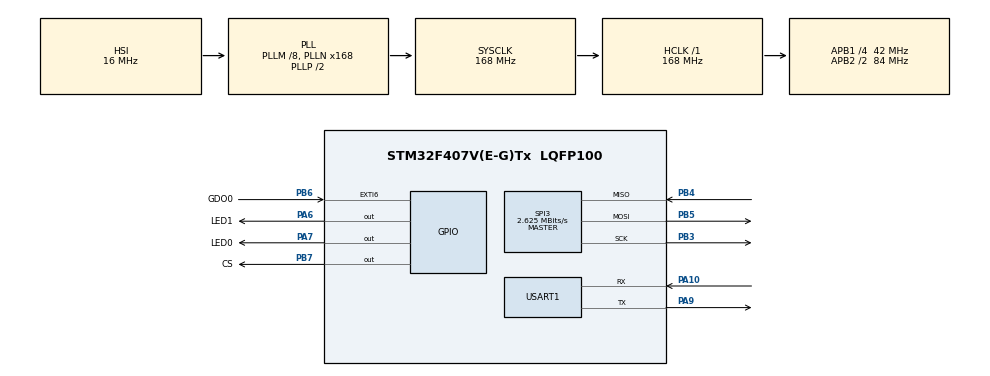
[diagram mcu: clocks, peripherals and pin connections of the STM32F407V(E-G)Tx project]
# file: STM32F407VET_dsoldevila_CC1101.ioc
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Mcu.Family=STM32F4
Mcu.Name=STM32F407V(E-G)Tx
Mcu.Package=LQFP100
NVIC.EXTI9_5_IRQn=true\:0\:0\:false\:false\:true\:true\:true\:true
NVIC.PriorityGroup=NVIC_PRIORITYGROUP_4
PA10.Mode=Asynchronous
PA10.Signal=USART1_RX
PA6.GPIO_Label=LED1
PA6.Signal=GPIO_Output
PA7.GPIO_Label=LED0
PA7.Signal=GPIO_Output
PA9.Mode=Asynchronous
PA9.Signal=USART1_TX
PB3.Mode=Full_Duplex_Master
PB3.Signal=SPI3_SCK
PB4.Mode=Full_Duplex_Master
PB4.Signal=SPI3_MISO
PB5.Mode=Full_Duplex_Master
PB5.Signal=SPI3_MOSI
PB6.GPIO_Label=GDO0
PB6.GPIO_ModeDefaultEXTI=GPIO_MODE_IT_FALLING
PB6.Signal=GPXTI6
PB7.GPIO_Label=CS
PB7.Signal=GPIO_Output
PC14-OSC32_IN.Mode=LSE-External-Oscillator
PC14-OSC32_IN.Signal=RCC_OSC32_IN
PC15-OSC32_OUT.Mode=LSE-External-Oscillator
PC15-OSC32_OUT.Signal=RCC_OSC32_OUT
PH0-OSC_IN.Mode=HSE-External-Oscillator
PH0-OSC_IN.Signal=RCC_OSC_IN
PH1-OSC_OUT.Mode=HSE-External-Oscillator
PH1-OSC_OUT.Signal=RCC_OSC_OUT
ProjectManager.HeapSize=0x200
ProjectManager.StackSize=0x400
ProjectManager.TargetToolchain=STM32CubeIDE
RCC.48MHZClocksFreq_Value=84000000
RCC.AHBFreq_Value=168000000
RCC.APB1CLKDivider=RCC_HCLK_DIV4
RCC.APB1Freq_Value=42000000
RCC.APB1TimFreq_Value=84000000
RCC.APB2CLKDivider=RCC_HCLK_DIV2
RCC.APB2Freq_Value=84000000
RCC.APB2TimFreq_Value=168000000
RCC.CortexFreq_Value=168000000
RCC.HCLKFreq_Value=168000000
RCC.HSE_VALUE=25000000
RCC.HSI_VALUE=16000000
RCC.PLLM=8
RCC.PLLN=168
RCC.SYSCLKFreq_VALUE=168000000
RCC.SYSCLKSource=RCC_SYSCLKSOURCE_PLLCLK
RCC.VCOOutputFreq_Value=336000000
SPI3.BaudRatePrescaler=SPI_BAUDRATEPRESCALER_16
SPI3.CalculateBaudRate=2.625 MBits/s
SPI3.Direction=SPI_DIRECTION_2LINES
SPI3.Mode=SPI_MODE_MASTER
SPI3.VirtualType=VM_MASTER
USART1.VirtualMode=VM_ASYNC
board=custom

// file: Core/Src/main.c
/* USER CODE BEGIN Header */
/**
 ******************************************************************************
 * @file           : main.c
 * @brief          : Main program body
 ******************************************************************************
 * @attention
 *
 * Copyright (c) 2025 STMicroelectronics.
 * All rights reserved.
 *
 * This software is licensed under terms that can be found in the LICENSE file
 * in the root directory of this software component.
 * If no LICENSE file comes with this software, it is provided AS-IS.
 *
 ******************************************************************************
 */
/* USER CODE END Header */
#include "main.h"

/* USER CODE BEGIN Includes */
#include <stdio.h>
#include "rf_driver.h"
/* USER CODE END Includes */

SPI_HandleTypeDef hspi3;

UART_HandleTypeDef huart1;

void SystemClock_Config(void);
static void MX_GPIO_Init(void);
static void MX_SPI3_Init(void);
static void MX_USART1_UART_Init(void);

/* USER CODE BEGIN 0 */
void CC1101_DumpRegisters(char *buf, size_t bufsize) {
	uint8_t regVal;
	size_t idx = 0;

	for (uint8_t addr = 0x00; addr <= 0x2F; addr++) {
		regVal = rf_read_register(addr);
		idx += snprintf(buf + idx, bufsize - idx, "[0x%02X]=0x%02X,", addr,
				regVal);
		if (idx >= bufsize - 1)
			break; // Prevent buffer overflow
	}
	// volatile uint8_t raw_state = rf_read_register(MARCSTATE);
	// Append PARTNUM and VERSION explicitly
	regVal = rf_read_register(PARTNUM); // PARTNUM
	idx += snprintf(buf + idx, bufsize - idx, "PARTNUM = 0x%02X\r\n", regVal);

	regVal = rf_read_register(VERSION); // VERSION
	idx += snprintf(buf + idx, bufsize - idx, "VERSION = 0x%02X\r\n", regVal);
}

void transmit_demo(uint32_t i) {
	uint16_t size = 20;
	uint8_t data[size];
	const char *str = "{x=10;y=20}";
	//uint16_t len = strlen(str);  // len = 13
	//memcpy(data, str, len);  // Copy without null terminator
	sprintf(data,"--%s%ld\n",str,i);

	static int counter = 0;
	data[0] = size & 0xFF;
	data[1] = (size >> 8) & 0xFF;

//	size = strlen(data);
//	for (i = 2; i < size; i++) {
//		data[i] = (i) % 256;
//	}

	if (send_frame(data, size) != FRAME_OK)
		printf("ERROR\n\r");
	data[size - 1] = counter++;

}
/* USER CODE END 0 */

int main(void) {

	/* MCU Configuration--------------------------------------------------------*/

	/* Reset of all peripherals, Initializes the Flash interface and the Systick. */

	HAL_Init();

	/* Configure the system clock */
	SystemClock_Config();

	/* Initialize all configured peripherals */
	MX_GPIO_Init();
	MX_SPI3_Init();
	MX_USART1_UART_Init();
	/* USER CODE BEGIN 2 */
	  init_serial(&huart1);
	/* USER CODE END 2 */

	/* Infinite loop */
	/* USER CODE BEGIN WHILE */

	//Init rf driver
	rf_begin(&hspi3, GFSK_1_2_kb, MHz434, CS_GPIO_Port, CS_Pin, GDO0_Pin);

	//check if idle
	rf_sidle();
	uint8_t result = rf_read_register(MARCSTATE);
	printf("result %#02x (Should be 0x01)\n\r", result);

	rf_set_carrier_frequency(433.98);
	rf_set_carrier_offset(50);

//	uint8_t crc;
//	uint16_t len = (1 << 16) - 1;
//	uint8_t buffer[len];
//	uint8_t lqi;
//	uint8_t rssi;

	rf_receive();

	char buff[650] = { };
	//TI_FixCriticalRegisters();
	//CC1101_Init4FSK();
	CC1101_DumpRegisters(buff, 650);
	printf(buff);
	uint32_t i = 0;

	while (1) {
//		if (rf_incoming_packet()) {
		HAL_GPIO_TogglePin(LED0_GPIO_Port, LED0_Pin);
//			printf("PACKET FOUND\n\r");
//			len = (1 << 16) - 1;
//			crc = receive_frame(buffer, &len, 0, 16, &lqi, &rssi);
//			if (crc) {
//				printf("%d CRC OK\n\r", len);
//			} else {
//				printf("%d BAD CRC OK\n\r", len);
//			}
//			rf_write_strobe(SFRX);
//			//printf("CRC: %d, LQI: %d, RSSI: %d, LEN: %d\n\r", crc, lqi, rssi, len);
//			rf_receive();
//		}
		printf("While loop!\n");
	//	HAL_Delay(10);

		transmit_demo(i++);
		/* USER CODE END WHILE */

	}
}

void SystemClock_Config(void) {
	RCC_OscInitTypeDef RCC_OscInitStruct = { 0 };
	RCC_ClkInitTypeDef RCC_ClkInitStruct = { 0 };

	/** Configure the main internal regulator output voltage
	 */
	__HAL_RCC_PWR_CLK_ENABLE();
	__HAL_PWR_VOLTAGESCALING_CONFIG(PWR_REGULATOR_VOLTAGE_SCALE1);

	/** Initializes the RCC Oscillators according to the specified parameters
	 * in the RCC_OscInitTypeDef structure.
	 */
	RCC_OscInitStruct.OscillatorType = RCC_OSCILLATORTYPE_HSI;
	RCC_OscInitStruct.HSIState = RCC_HSI_ON;
	RCC_OscInitStruct.HSICalibrationValue = RCC_HSICALIBRATION_DEFAULT;
	RCC_OscInitStruct.PLL.PLLState = RCC_PLL_ON;
	RCC_OscInitStruct.PLL.PLLSource = RCC_PLLSOURCE_HSI;
	RCC_OscInitStruct.PLL.PLLM = 8;
	RCC_OscInitStruct.PLL.PLLN = 168;
	RCC_OscInitStruct.PLL.PLLP = RCC_PLLP_DIV2;
	RCC_OscInitStruct.PLL.PLLQ = 4;
	if (HAL_RCC_OscConfig(&RCC_OscInitStruct) != HAL_OK) {
		Error_Handler();
	}

	/** Initializes the CPU, AHB and APB buses clocks
	 */
	RCC_ClkInitStruct.ClockType = RCC_CLOCKTYPE_HCLK | RCC_CLOCKTYPE_SYSCLK
			| RCC_CLOCKTYPE_PCLK1 | RCC_CLOCKTYPE_PCLK2;
	RCC_ClkInitStruct.SYSCLKSource = RCC_SYSCLKSOURCE_PLLCLK;
	RCC_ClkInitStruct.AHBCLKDivider = RCC_SYSCLK_DIV1;
	RCC_ClkInitStruct.APB1CLKDivider = RCC_HCLK_DIV4;
	RCC_ClkInitStruct.APB2CLKDivider = RCC_HCLK_DIV2;

	if (HAL_RCC_ClockConfig(&RCC_ClkInitStruct, FLASH_LATENCY_5) != HAL_OK) {
		Error_Handler();
	}
}

static void MX_SPI3_Init(void) {

	/* SPI3 parameter configuration*/
	hspi3.Instance = SPI3;
	hspi3.Init.Mode = SPI_MODE_MASTER;
	hspi3.Init.Direction = SPI_DIRECTION_2LINES;
	hspi3.Init.DataSize = SPI_DATASIZE_8BIT;
	hspi3.Init.CLKPolarity = SPI_POLARITY_LOW;
	hspi3.Init.CLKPhase = SPI_PHASE_1EDGE;
	hspi3.Init.NSS = SPI_NSS_SOFT;
	hspi3.Init.BaudRatePrescaler = SPI_BAUDRATEPRESCALER_16;
	hspi3.Init.FirstBit = SPI_FIRSTBIT_MSB;
	hspi3.Init.TIMode = SPI_TIMODE_DISABLE;
	hspi3.Init.CRCCalculation = SPI_CRCCALCULATION_DISABLE;
	hspi3.Init.CRCPolynomial = 10;
	if (HAL_SPI_Init(&hspi3) != HAL_OK) {
		Error_Handler();
	}

}

static void MX_USART1_UART_Init(void) {

	huart1.Instance = USART1;
	huart1.Init.BaudRate = 115200;
	huart1.Init.WordLength = UART_WORDLENGTH_8B;
	huart1.Init.StopBits = UART_STOPBITS_1;
	huart1.Init.Parity = UART_PARITY_NONE;
	huart1.Init.Mode = UART_MODE_TX_RX;
	huart1.Init.HwFlowCtl = UART_HWCONTROL_NONE;
	huart1.Init.OverSampling = UART_OVERSAMPLING_16;
	if (HAL_UART_Init(&huart1) != HAL_OK) {
		Error_Handler();
	}

}

static void MX_GPIO_Init(void) {
	GPIO_InitTypeDef GPIO_InitStruct = { 0 };

	/* GPIO Ports Clock Enable */
	__HAL_RCC_GPIOC_CLK_ENABLE();
	__HAL_RCC_GPIOH_CLK_ENABLE();
	__HAL_RCC_GPIOA_CLK_ENABLE();
	__HAL_RCC_GPIOB_CLK_ENABLE();

	/*Configure GPIO pin Output Level */
	HAL_GPIO_WritePin(GPIOA, LED1_Pin | LED0_Pin, GPIO_PIN_RESET);

	/*Configure GPIO pin Output Level */
	HAL_GPIO_WritePin(CS_GPIO_Port, CS_Pin, GPIO_PIN_RESET);

	/*Configure GPIO pins : LED1_Pin LED0_Pin */
	GPIO_InitStruct.Pin = LED1_Pin | LED0_Pin;
	GPIO_InitStruct.Mode = GPIO_MODE_OUTPUT_PP;
	GPIO_InitStruct.Pull = GPIO_NOPULL;
	GPIO_InitStruct.Speed = GPIO_SPEED_FREQ_LOW;
	HAL_GPIO_Init(GPIOA, &GPIO_InitStruct);

	/*Configure GPIO pin : GDO0_Pin */
	GPIO_InitStruct.Pin = GDO0_Pin;
	GPIO_InitStruct.Mode = GPIO_MODE_IT_FALLING;
	GPIO_InitStruct.Pull = GPIO_NOPULL;
	HAL_GPIO_Init(GDO0_GPIO_Port, &GPIO_InitStruct);

	/*Configure GPIO pin : CS_Pin */
	GPIO_InitStruct.Pin = CS_Pin;
	GPIO_InitStruct.Mode = GPIO_MODE_OUTPUT_PP;
	GPIO_InitStruct.Pull = GPIO_NOPULL;
	GPIO_InitStruct.Speed = GPIO_SPEED_FREQ_LOW;
	HAL_GPIO_Init(CS_GPIO_Port, &GPIO_InitStruct);

	/* EXTI interrupt init*/
	HAL_NVIC_SetPriority(EXTI9_5_IRQn, 0, 0);
	HAL_NVIC_EnableIRQ(EXTI9_5_IRQn);

}

/* USER CODE BEGIN 4 */
//int _write(int file, char *ptr, int len) {
//	int DataIdx;
//	HAL_UART_Transmit(&huart1, (uint8_t*) ptr, len, HAL_MAX_DELAY);
//	for (DataIdx = 0; DataIdx < len; DataIdx++) {
//		ITM_SendChar(*ptr++);
//	}
//	return len;
//}
/* USER CODE END 4 */

void Error_Handler(void) {
	__disable_irq();
	while (1) {
	}
}
